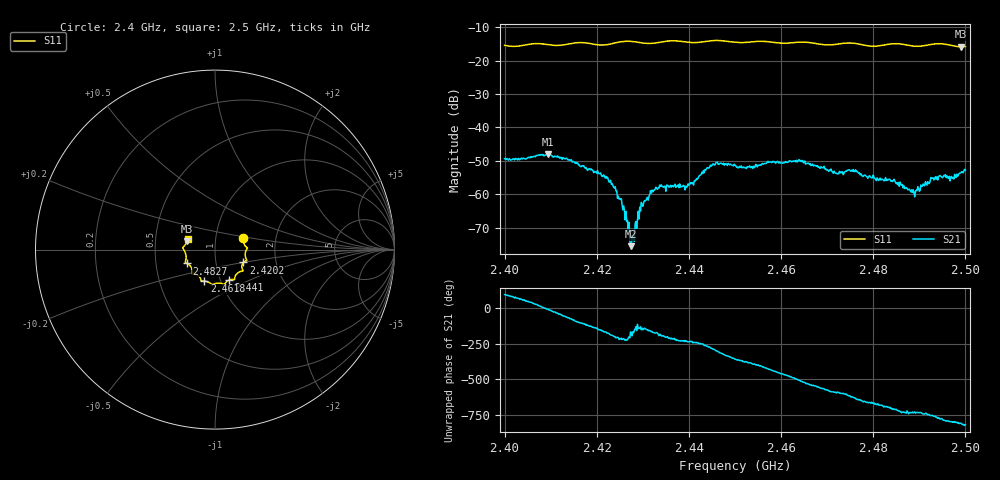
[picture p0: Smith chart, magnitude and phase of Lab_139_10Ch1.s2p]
# Hz S RI R 50
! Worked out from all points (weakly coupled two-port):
!   601 points, 2.4 GHz to 2.5 GHz, reference 50 ohm
!   highest |S21| = -47.95 dB at 2.4093 GHz (marker M1); lowest = -75.6 dB at 2.4273 GHz (marker M2)
!   lowest |S11| = -15.8 dB at 2.499 GHz (marker M3), VSWR 1.39, Z = 36.4 + j3.48 ohm
!   |S11| at or under -10 dB: start of sweep to end of sweep
!   S12 and S22 are empty: the file has one direction only
!   S11 on the Smith chart (normalised r, x): 2.4 GHz: 1.36, +0.18; 2.4202 GHz: 1.36, -0.20; 2.441 GHz: 1.10, -0.39; 2.4618 GHz: 0.84, -0.30; 2.4827 GHz: 0.72, -0.12; 2.5 GHz: 0.73, +0.09
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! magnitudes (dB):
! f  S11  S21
! 2.4 GHz  -15.4  -49.4
! 2.4093 GHz  -15.1  -47.9
! 2.4167 GHz  -14.6  -51.7
! 2.4202 GHz  -15.2  -52.9
! 2.4238 GHz  -14.7  -58.1
! 2.4258 GHz  -14.2  -63.5
! 2.4273 GHz  -14.2  -75.6
! 2.4277 GHz  -14.2  -72.4
! 2.4298 GHz  -14.7  -63.2
! 2.4333 GHz  -14.5  -58.2
! 2.441 GHz  -14.6  -57.3
! 2.4457 GHz  -13.9  -51.2
! 2.45 GHz  -14.5  -51.4
! 2.4618 GHz  -14.7  -49.9
! 2.4667 GHz  -14.6  -51.3
! 2.4827 GHz  -15.2  -55.0
! 2.4833 GHz  -15.0  -55.6
! 2.489 GHz  -15.6  -60.8
! 2.493 GHz  -15.0  -55.1
! 2.497 GHz  -15.4  -54.7
! 2.499 GHz  -15.8  -53.6
! 2.5 GHz  -15.7  -52.8
